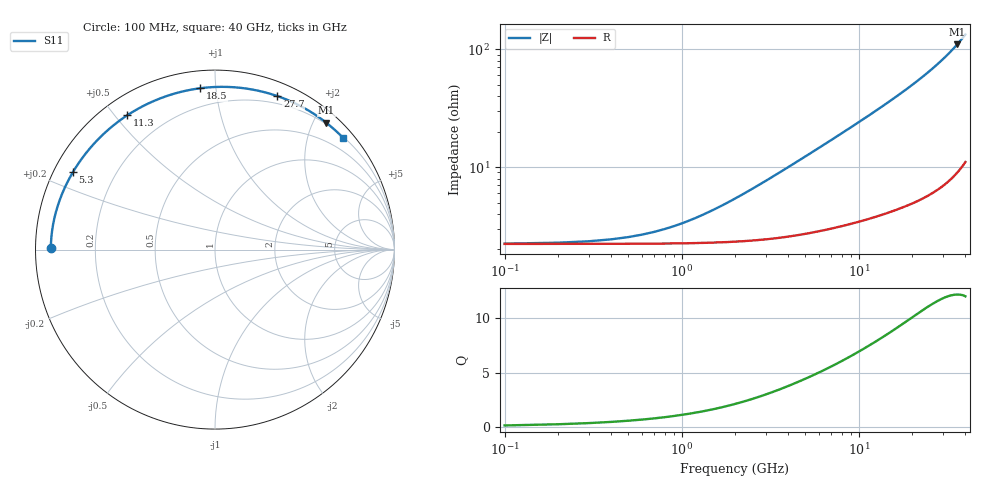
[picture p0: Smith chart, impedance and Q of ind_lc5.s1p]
#  Hz  S  RI  R  50
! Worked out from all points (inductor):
!   400 points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, 100 MHz to 40 GHz, reference 50 ohm
!   read as one part to ground: L = 383 pH near 3.1 GHz
!   highest Q = 12.2 at 36 GHz (marker M1), where L = 485 pH
!   S11 on the Smith chart (normalised r, x): 100 MHz: 0.04, +0.00; 5.3 GHz: 0.06, +0.25; 11.3 GHz: 0.07, +0.54; 18.5 GHz: 0.09, +0.91; 27.7 GHz: 0.13, +1.48; 40 GHz: 0.22, +2.66
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1e8  -0.9146 0.00897
1.2e9  -0.9073 0.107
2.4e9  -0.886 0.2104
3.7e9  -0.8499 0.3153
5.1e9  -0.7992 0.4184
5.3e9  -0.7911 0.4322
6.5e9  -0.7391 0.5108
7.7e9  -0.6818 0.5816
8.9e9  -0.6204 0.6447
1.01e10  -0.5559 0.7001
1.13e10  -0.4892 0.7481
1.22e10  -0.4382 0.7793
1.32e10  -0.3812 0.8095
1.41e10  -0.3297 0.8327
1.51e10  -0.2727 0.8544
1.68e10  -0.177 0.8819
1.85e10  -0.084 0.8988
2.01e10  0.000529 0.906
2.13e10  0.0616 0.9066
2.25e10  0.1204 0.9034
2.51e10  0.2399 0.8854
2.77e10  0.3479 0.8552
3.01e10  0.4376 0.8189
3.26e10  0.5212 0.7747
3.51e10  0.5951 0.7258
3.6e10  0.6195 0.7073
3.8e10  0.6698 0.6649
4e10  0.7149 0.6211
